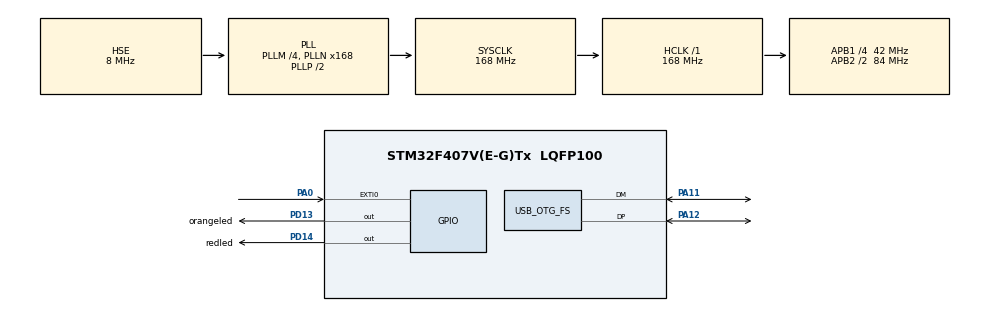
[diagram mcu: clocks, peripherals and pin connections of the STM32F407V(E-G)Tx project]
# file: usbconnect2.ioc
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Mcu.Family=STM32F4
Mcu.Name=STM32F407V(E-G)Tx
Mcu.Package=LQFP100
NVIC.EXTI0_IRQn=true\:0\:0\:false\:false\:true\:true\:true\:true
NVIC.OTG_FS_IRQn=true\:0\:0\:false\:false\:true\:false\:true\:true
NVIC.PriorityGroup=NVIC_PRIORITYGROUP_0
PA0-WKUP.GPIO_ModeDefaultEXTI=GPIO_MODE_IT_RISING_FALLING
PA0-WKUP.Signal=GPXTI0
PA11.Mode=Device_Only
PA11.Signal=USB_OTG_FS_DM
PA12.Mode=Device_Only
PA12.Signal=USB_OTG_FS_DP
PA13.Mode=Trace_Asynchronous_SW
PA13.Signal=SYS_JTMS-SWDIO
PA14.Mode=Trace_Asynchronous_SW
PA14.Signal=SYS_JTCK-SWCLK
PB3.Mode=Trace_Asynchronous_SW
PB3.Signal=SYS_JTDO-SWO
PD13.GPIO_Label=orangeled
PD13.Signal=GPIO_Output
PD14.GPIO_Label=redled
PD14.Signal=GPIO_Output
PH0-OSC_IN.Mode=HSE-External-Oscillator
PH0-OSC_IN.Signal=RCC_OSC_IN
PH1-OSC_OUT.Mode=HSE-External-Oscillator
PH1-OSC_OUT.Signal=RCC_OSC_OUT
ProjectManager.HeapSize=0x200
ProjectManager.StackSize=0x400
ProjectManager.TargetToolchain=STM32CubeIDE
RCC.48MHZClocksFreq_Value=48000000
RCC.AHBFreq_Value=168000000
RCC.APB1CLKDivider=RCC_HCLK_DIV4
RCC.APB1Freq_Value=42000000
RCC.APB1TimFreq_Value=84000000
RCC.APB2CLKDivider=RCC_HCLK_DIV2
RCC.APB2Freq_Value=84000000
RCC.APB2TimFreq_Value=168000000
RCC.CortexFreq_Value=168000000
RCC.HCLKFreq_Value=168000000
RCC.HSE_VALUE=8000000
RCC.HSI_VALUE=16000000
RCC.LSE_VALUE=32768
RCC.PLLM=4
RCC.PLLN=168
RCC.PLLQ=7
RCC.SYSCLKFreq_VALUE=168000000
RCC.SYSCLKSource=RCC_SYSCLKSOURCE_PLLCLK
RCC.VCOOutputFreq_Value=336000000
TIM6.Prescaler=1
TIM7.Prescaler=1
USB_DEVICE.CLASS_NAME_FS=CDC
USB_DEVICE.VirtualMode-CDC_FS=Cdc
USB_DEVICE.VirtualModeFS=Cdc_FS
USB_OTG_FS.VirtualMode=Device_Only
VP_TIM6_VS_ClockSourceINT.Mode=Enable_Timer
VP_TIM7_VS_ClockSourceINT.Mode=Enable_Timer
VP_USB_DEVICE_VS_USB_DEVICE_CDC_FS.Mode=CDC_FS
board=STM32F407G-DISC1

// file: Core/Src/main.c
/* USER CODE BEGIN Header */
/**
  ******************************************************************************
  * @file           : main.c
  * @brief          : Main program body
  ******************************************************************************
  * @attention
  *
  * Copyright (c) 2022 STMicroelectronics.
  * All rights reserved.
  *
  * This software is licensed under terms that can be found in the LICENSE file
  * in the root directory of this software component.
  * If no LICENSE file comes with this software, it is provided AS-IS.
  *
  ******************************************************************************
  */
/* USER CODE END Header */
#include "main.h"
#include "usb_device.h"

/* USER CODE BEGIN Includes */
#include "usbd_cdc_if.h"
#include "string.h"
 uint8_t charbuff[64];
  uint8_t externbuffer[64];
  uint16_t flag=0;//for input from usb
  uint32_t timinbuttonpress =0;
  uint32_t timebetweenbutton=0;

  static enum
  		{
  	idle,
  	bdown,
  	bup
  		}state=idle;

/* USER CODE END Includes */

TIM_HandleTypeDef htim6;
TIM_HandleTypeDef htim7;

void SystemClock_Config(void);
static void MX_GPIO_Init(void);
static void MX_TIM6_Init(void);
static void MX_TIM7_Init(void);
/* USER CODE BEGIN PFP */
int inerruptcount=0;
int periodcount=0;
/* USER CODE END PFP */

int main(void)
{

  /* MCU Configuration--------------------------------------------------------*/

  /* Reset of all peripherals, Initializes the Flash interface and the Systick. */
  HAL_Init();

  /* Configure the system clock */
  SystemClock_Config();

  /* Initialize all configured peripherals */
  MX_GPIO_Init();
  MX_USB_DEVICE_Init();
  MX_TIM6_Init();
  MX_TIM7_Init();
  /* USER CODE BEGIN 2 */
  CDC_Transmit_FS("hello", strlen("hello"));

	state=idle;
  /* USER CODE END 2 */

  /* Infinite loop */
  /* USER CODE BEGIN WHILE */
  while (1)
  {
	  //CDC_Transmit_FS("Don't set aslı's pin", strlen("Don't set aslı's pin"));
	 // HAL_Delay(100);
    /* USER CODE END WHILE */

    /* USER CODE BEGIN 3 */
	  switch (flag)
	  {
	  case 0:
		    switch (state)
		    {
		    case idle:
		    	 TIM7->CNT=0;
		    	HAL_TIM_Base_Start_IT(&htim7);
		    	break;
		    case bdown:
		    	 TIM6->CNT=0;
		    	 timebetweenbutton=TIM7->CNT;
		    	HAL_TIM_Base_Stop_IT(&htim7);
		    	HAL_TIM_Base_Start(&htim6);
		    	break;
		    case bup:
		    //diasable interrupt for 100 ms
		    HAL_NVIC_DisableIRQ(EXTI0_IRQn);

		   // HAL_TIM_Base_Start_IT(&htim7);
		    timinbuttonpress=TIM6->CNT;
		    HAL_TIM_Base_Stop(&htim6);
	        HAL_Delay(20);	  //this is 100ms
	        HAL_NVIC_EnableIRQ(EXTI0_IRQn);
	        state=idle;
	        snprintf(charbuff,sizeof(charbuff),"%d,%d\n", timebetweenbutton+periodcount*65532,timinbuttonpress );
	       		CDC_Transmit_FS(charbuff, strlen(charbuff));
   		    break;

		    }

		  break;
	  case 1:
		  flag=0;
		  if (!strcmp(externbuffer,"orangeon"))
		 		  {
		 			HAL_GPIO_WritePin(orangeled_GPIO_Port, orangeled_Pin, 1   );

		 		  }
		 		  if (!strcmp(externbuffer,"orangeof"))
		 		  		  {
		 		  			HAL_GPIO_WritePin(orangeled_GPIO_Port, orangeled_Pin, 0  );

		 		  		  }
		 		  if (!strcmp(externbuffer,"redof"))
		 		 		  		  {
		 		 		  			HAL_GPIO_WritePin(redled_GPIO_Port, redled_Pin, 0  );

		 		 		  		  }
		 		  if (!strcmp(externbuffer,"redon"))
		 		  		 		  		  {
		 		  		 		  			HAL_GPIO_WritePin(redled_GPIO_Port, redled_Pin, 1  );

		 		  		 		  		  }

		  break;

	  }//switch flag

  }
  /* USER CODE END 3 */
}

void SystemClock_Config(void)
{
  RCC_OscInitTypeDef RCC_OscInitStruct = {0};
  RCC_ClkInitTypeDef RCC_ClkInitStruct = {0};

  /** Configure the main internal regulator output voltage
  */
  __HAL_RCC_PWR_CLK_ENABLE();
  __HAL_PWR_VOLTAGESCALING_CONFIG(PWR_REGULATOR_VOLTAGE_SCALE1);

  /** Initializes the RCC Oscillators according to the specified parameters
  * in the RCC_OscInitTypeDef structure.
  */
  RCC_OscInitStruct.OscillatorType = RCC_OSCILLATORTYPE_HSE;
  RCC_OscInitStruct.HSEState = RCC_HSE_ON;
  RCC_OscInitStruct.PLL.PLLState = RCC_PLL_ON;
  RCC_OscInitStruct.PLL.PLLSource = RCC_PLLSOURCE_HSE;
  RCC_OscInitStruct.PLL.PLLM = 4;
  RCC_OscInitStruct.PLL.PLLN = 168;
  RCC_OscInitStruct.PLL.PLLP = RCC_PLLP_DIV2;
  RCC_OscInitStruct.PLL.PLLQ = 7;
  if (HAL_RCC_OscConfig(&RCC_OscInitStruct) != HAL_OK)
  {
    Error_Handler();
  }

  /** Initializes the CPU, AHB and APB buses clocks
  */
  RCC_ClkInitStruct.ClockType = RCC_CLOCKTYPE_HCLK|RCC_CLOCKTYPE_SYSCLK
                              |RCC_CLOCKTYPE_PCLK1|RCC_CLOCKTYPE_PCLK2;
  RCC_ClkInitStruct.SYSCLKSource = RCC_SYSCLKSOURCE_PLLCLK;
  RCC_ClkInitStruct.AHBCLKDivider = RCC_SYSCLK_DIV1;
  RCC_ClkInitStruct.APB1CLKDivider = RCC_HCLK_DIV4;
  RCC_ClkInitStruct.APB2CLKDivider = RCC_HCLK_DIV2;

  if (HAL_RCC_ClockConfig(&RCC_ClkInitStruct, FLASH_LATENCY_5) != HAL_OK)
  {
    Error_Handler();
  }
}

static void MX_TIM6_Init(void)
{

  TIM_MasterConfigTypeDef sMasterConfig = {0};

  htim6.Instance = TIM6;
  htim6.Init.Prescaler = 1;
  htim6.Init.CounterMode = TIM_COUNTERMODE_UP;
  htim6.Init.Period = 65535;
  htim6.Init.AutoReloadPreload = TIM_AUTORELOAD_PRELOAD_DISABLE;
  if (HAL_TIM_Base_Init(&htim6) != HAL_OK)
  {
    Error_Handler();
  }
  sMasterConfig.MasterOutputTrigger = TIM_TRGO_RESET;
  sMasterConfig.MasterSlaveMode = TIM_MASTERSLAVEMODE_DISABLE;
  if (HAL_TIMEx_MasterConfigSynchronization(&htim6, &sMasterConfig) != HAL_OK)
  {
    Error_Handler();
  }

}

static void MX_TIM7_Init(void)
{

  TIM_MasterConfigTypeDef sMasterConfig = {0};

  htim7.Instance = TIM7;
  htim7.Init.Prescaler = 1;
  htim7.Init.CounterMode = TIM_COUNTERMODE_UP;
  htim7.Init.Period = 65535;
  htim7.Init.AutoReloadPreload = TIM_AUTORELOAD_PRELOAD_DISABLE;
  if (HAL_TIM_Base_Init(&htim7) != HAL_OK)
  {
    Error_Handler();
  }
  sMasterConfig.MasterOutputTrigger = TIM_TRGO_RESET;
  sMasterConfig.MasterSlaveMode = TIM_MASTERSLAVEMODE_DISABLE;
  if (HAL_TIMEx_MasterConfigSynchronization(&htim7, &sMasterConfig) != HAL_OK)
  {
    Error_Handler();
  }

}

static void MX_GPIO_Init(void)
{
  GPIO_InitTypeDef GPIO_InitStruct = {0};

  /* GPIO Ports Clock Enable */
  __HAL_RCC_GPIOH_CLK_ENABLE();
  __HAL_RCC_GPIOA_CLK_ENABLE();
  __HAL_RCC_GPIOD_CLK_ENABLE();
  __HAL_RCC_GPIOB_CLK_ENABLE();

  /*Configure GPIO pin Output Level */
  HAL_GPIO_WritePin(GPIOD, orangeled_Pin|redled_Pin, GPIO_PIN_RESET);

  /*Configure GPIO pin : PA0 */
  GPIO_InitStruct.Pin = GPIO_PIN_0;
  GPIO_InitStruct.Mode = GPIO_MODE_IT_RISING_FALLING;
  GPIO_InitStruct.Pull = GPIO_NOPULL;
  HAL_GPIO_Init(GPIOA, &GPIO_InitStruct);

  /*Configure GPIO pins : orangeled_Pin redled_Pin */
  GPIO_InitStruct.Pin = orangeled_Pin|redled_Pin;
  GPIO_InitStruct.Mode = GPIO_MODE_OUTPUT_PP;
  GPIO_InitStruct.Pull = GPIO_NOPULL;
  GPIO_InitStruct.Speed = GPIO_SPEED_FREQ_LOW;
  HAL_GPIO_Init(GPIOD, &GPIO_InitStruct);

  /* EXTI interrupt init*/
  HAL_NVIC_SetPriority(EXTI0_IRQn, 0, 0);
  HAL_NVIC_EnableIRQ(EXTI0_IRQn);

}

/* USER CODE BEGIN 4 */
void HAL_GPIO_EXTI_Callback(uint16_t GPIO_Pin)
{
	inerruptcount ++;
 if (GPIO_Pin==GPIO_PIN_0)
 {
	 if (HAL_GPIO_ReadPin(GPIOA,GPIO_PIN_0 )== 1)
	 {
		state=bdown;
		 // TIM6->CNT=0;
		//HAL_TIM_Base_Start(&htim6);

	 }// button pres
	 if (HAL_GPIO_ReadPin(GPIOA,GPIO_PIN_0 )== 0)
	 	 {
		 state=bup;

       // snprintf(charbuff,sizeof(charbuff),"count=%d\n",count);
		 //CDC_Transmit_FS(charbuff, strlen(charbuff));

	 	 }// button up
 }//if pin 0
}//exticallback
void PeriodElapsedCallback (TIM_HandleTypeDef *htim)
{periodcount++;
	if (htim==&htim7)
	{
periodcount++;
	}
	}//period eleapsed

/* USER CODE END 4 */

void Error_Handler(void)
{
  __disable_irq();
  while (1)
  {
  }
}
